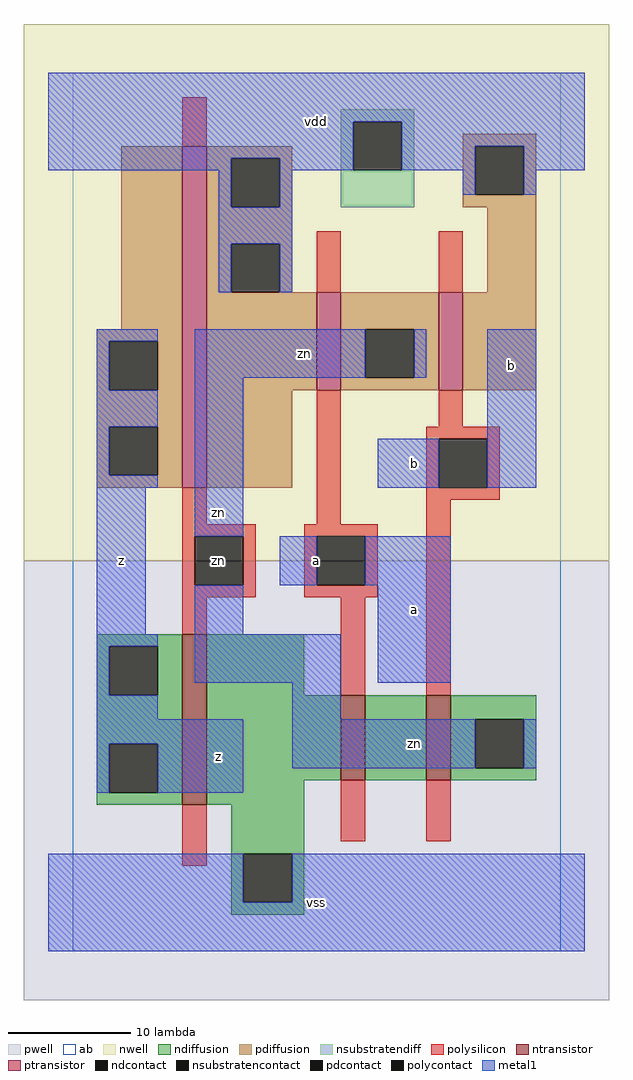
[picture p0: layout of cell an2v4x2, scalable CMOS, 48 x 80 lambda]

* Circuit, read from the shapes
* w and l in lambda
.subckt an2v4x2 a b vdd vss z zn
M1 vss zn z VSUBS nfet w=14 l=2
M2 n1 a vss VSUBS nfet w=7 l=2
M3 zn b n1 VSUBS nfet w=7 l=2
M4 vdd zn z vdd pfet w=28 l=2
M5 zn a vdd vdd pfet w=8 l=2
M6 vdd b zn vdd pfet w=8 l=2
.ends

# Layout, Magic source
magic
tech scmos
<< ab >>
rect 0 0 40 72
<< pwell >>
rect -4 -4 44 32
<< nwell >>
rect -4 32 44 76
<< polysilicon >>
rect 9 66 11 70
rect 20 54 22 59
rect 30 54 32 59
rect 9 35 11 38
rect 20 35 22 46
rect 30 43 32 46
rect 29 42 35 43
rect 29 38 30 42
rect 34 38 35 42
rect 29 37 35 38
rect 9 34 15 35
rect 9 30 10 34
rect 14 30 15 34
rect 9 29 15 30
rect 19 34 25 35
rect 19 30 20 34
rect 24 30 25 34
rect 19 29 25 30
rect 9 26 11 29
rect 22 21 24 29
rect 29 21 31 37
rect 9 7 11 12
rect 22 9 24 14
rect 29 9 31 14
<< ndiffusion >>
rect 2 25 9 26
rect 2 21 3 25
rect 7 21 9 25
rect 2 17 9 21
rect 2 13 3 17
rect 7 13 9 17
rect 2 12 9 13
rect 11 21 19 26
rect 11 14 22 21
rect 24 14 29 21
rect 31 19 38 21
rect 31 15 33 19
rect 37 15 38 19
rect 31 14 38 15
rect 11 12 19 14
rect 13 8 19 12
rect 13 4 14 8
rect 18 4 19 8
rect 13 3 19 4
<< pdiffusion >>
rect 4 51 9 66
rect 2 50 9 51
rect 2 46 3 50
rect 7 46 9 50
rect 2 43 9 46
rect 2 39 3 43
rect 7 39 9 43
rect 2 38 9 39
rect 11 65 18 66
rect 11 61 13 65
rect 17 61 18 65
rect 32 66 38 67
rect 32 62 33 66
rect 37 62 38 66
rect 32 61 38 62
rect 11 58 18 61
rect 11 54 13 58
rect 17 54 18 58
rect 34 54 38 61
rect 11 46 20 54
rect 22 51 30 54
rect 22 47 24 51
rect 28 47 30 51
rect 22 46 30 47
rect 32 46 38 54
rect 11 38 18 46
<< metal1 >>
rect -2 68 42 72
rect -2 65 23 68
rect -2 64 13 65
rect 12 61 13 64
rect 17 64 23 65
rect 27 66 42 68
rect 27 64 33 66
rect 17 61 18 64
rect 32 62 33 64
rect 37 64 42 66
rect 37 62 38 64
rect 12 58 18 61
rect 12 54 13 58
rect 17 54 18 58
rect 2 50 7 51
rect 2 46 3 50
rect 2 43 7 46
rect 2 39 3 43
rect 2 38 7 39
rect 10 47 24 51
rect 28 47 29 51
rect 2 26 6 38
rect 10 34 14 47
rect 25 38 30 42
rect 34 38 38 51
rect 17 30 20 34
rect 24 30 31 34
rect 10 26 14 30
rect 2 25 7 26
rect 2 21 3 25
rect 10 22 22 26
rect 25 22 31 30
rect 2 19 7 21
rect 18 19 22 22
rect 2 17 14 19
rect 2 13 3 17
rect 7 13 14 17
rect 18 15 33 19
rect 37 15 38 19
rect -2 4 14 8
rect 18 4 42 8
rect -2 0 42 4
<< ntransistor >>
rect 9 12 11 26
rect 22 14 24 21
rect 29 14 31 21
<< ptransistor >>
rect 9 38 11 66
rect 20 46 22 54
rect 30 46 32 54
<< polycontact >>
rect 30 38 34 42
rect 10 30 14 34
rect 20 30 24 34
<< ndcontact >>
rect 3 21 7 25
rect 3 13 7 17
rect 33 15 37 19
rect 14 4 18 8
<< pdcontact >>
rect 3 46 7 50
rect 3 39 7 43
rect 13 61 17 65
rect 33 62 37 66
rect 13 54 17 58
rect 24 47 28 51
<< nsubstratencontact >>
rect 23 64 27 68
<< nsubstratendiff >>
rect 22 68 28 69
rect 22 64 23 68
rect 27 64 28 68
rect 22 61 28 64
<< labels >>
rlabel polycontact 12 32 12 32 6 zn
rlabel metal1 4 32 4 32 6 z
rlabel metal1 12 16 12 16 6 z
rlabel metal1 12 36 12 36 6 zn
rlabel metal1 20 4 20 4 6 vss
rlabel metal1 20 32 20 32 6 a
rlabel metal1 28 28 28 28 6 a
rlabel metal1 28 40 28 40 6 b
rlabel metal1 19 49 19 49 6 zn
rlabel metal1 20 68 20 68 6 vdd
rlabel metal1 28 17 28 17 6 zn
rlabel metal1 36 48 36 48 6 b
<< end >>
